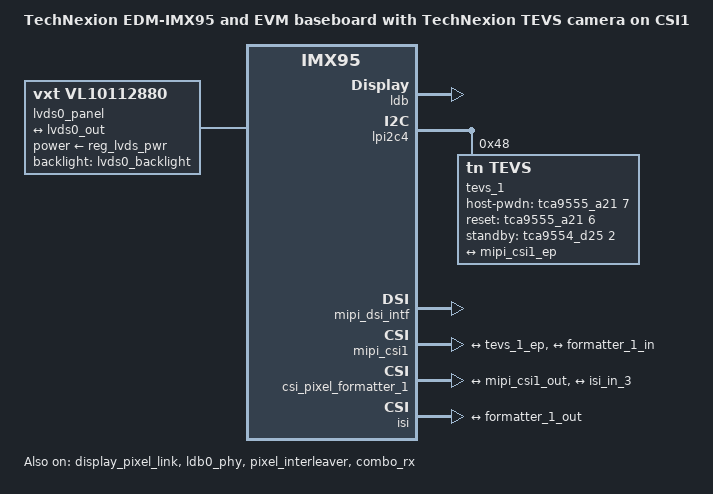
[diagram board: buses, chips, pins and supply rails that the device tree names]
// SPDX-License-Identifier: (GPL-2.0 OR MIT)
/*
 * Copyright 2024 TechNexion Ltd.
 *
 * Author: Richard Hu <richard.hu@technexion.com>
 *
 */

/dts-v1/;

#include "imx95-edm-evm.dts"

/ {
	model = "TechNexion EDM-IMX95 and EVM baseboard with TechNexion TEVS camera on CSI1";
	compatible = "fsl,imx95-edm", "fsl,imx95";

	reg_lvds_pwr: regulator_lvdspwr {	/* LVDS0_VDDEN */
		status = "okay";
	};

	lvds0_backlight: lvds0_backlight {
		status = "okay";
	};

	lvds0_panel {
		compatible = "vxt,vl10112880", "panel-lvds";
		backlight = <&lvds0_backlight>;
		power-supply = <&reg_lvds_pwr>;
		data-mapping = "vesa-24";
		height-mm = <161>;
		width-mm = <243>;
		panel-timing {
			clock-frequency = <71100000>;
			hactive = <1280>;
			vactive = <800>;
			hback-porch = <40>;
			hfront-porch = <40>;
			vback-porch = <10>;
			vfront-porch = <3>;
			hsync-len = <80>;
			vsync-len = <10>;
			de-active = <1>;
		};
		port {
			panel_in: endpoint {
				remote-endpoint = <&lvds0_out>;
			};
		};
	};
};

&display_pixel_link {
	status = "okay";
};

&ldb {
	#address-cells = <1>;
	#size-cells = <0>;
	assigned-clocks = <&scmi_clk IMX95_CLK_LDBPLL_VCO>,
			  <&scmi_clk IMX95_CLK_LDBPLL>;
	assigned-clock-rates = <2986200000>, <497700000>;
	status = "okay";

	channel@0 {
		#address-cells = <1>;
		#size-cells = <0>;
		reg = <0>;
		status = "okay";

		port@1 {
			reg = <1>;

			lvds0_out: endpoint {
				remote-endpoint = <&panel_in>;
			};
		};
	};
};

&ldb0_phy {
	status = "okay";
};

&pixel_interleaver {
	#address-cells = <1>;
	#size-cells = <0>;
	status = "okay";

	channel@0 {
		reg = <0>;
		status = "okay";
	};
};

/* TEVS on MIPI CSI1 */
&lpi2c4 {
	#address-cells = <1>;
	#size-cells = <0>;
	status = "okay";

	tevs_1: tevs@48 {
		compatible = "tn,tevs";
		reg = <0x48>;
		status = "okay";

		host-pwdn-gpios = <&tca9555_a21 7 GPIO_ACTIVE_HIGH>;
		reset-gpios = <&tca9555_a21 6 GPIO_ACTIVE_HIGH>;
		standby-gpios = <&tca9554_d25 2 GPIO_ACTIVE_HIGH>;

		port {
			tevs_1_ep: endpoint {
				remote-endpoint = <&mipi_csi1_ep>;
				data-lanes = <1 2 3 4>;
				clock-lanes = <0>;
				clock-noncontinuous;
				link-frequencies = /bits/ 64 <400000000>;
			};
		};
	};
};

&display_stream_csr {
	status = "disabled";
};

&display_master_csr {
	status = "disabled";
};

&mipi_tx_phy_csr {
	status = "disabled";
};

&mipi_dsi_intf {
	status = "okay";
};

&combo_rx {
	status = "okay";
};

&mipi_csi1 {
	status = "okay";

	ports {
		#address-cells = <1>;
		#size-cells = <0>;

		port@0 {
			reg = <0>;
			mipi_csi1_ep: endpoint {
				remote-endpoint = <&tevs_1_ep>;
				data-lanes = <1 2 3 4>;
				clock-lanes = <0>;
			};
		};

		port@1 {
			reg = <1>;
			mipi_csi1_out: endpoint {
				remote-endpoint = <&formatter_1_in>;
			};
		};
	};
};

&csi_pixel_formatter_1 {
	status = "okay";

	ports {
		#address-cells = <1>;
		#size-cells = <0>;

		port@0 {
			reg = <0>;

			formatter_1_in: endpoint {
				remote-endpoint = <&mipi_csi1_out>;
			};
		};

		port@1 {
			reg = <1>;

			formatter_1_out: endpoint {
				remote-endpoint = <&isi_in_3>;
			};
		};
	};
};

&isi {
	status = "okay";

	ports {
		#address-cells = <1>;
		#size-cells = <0>;

		port@3 {
			reg = <3>;

			isi_in_3: endpoint {
				remote-endpoint = <&formatter_1_out>;
			};
		};
	};
};
